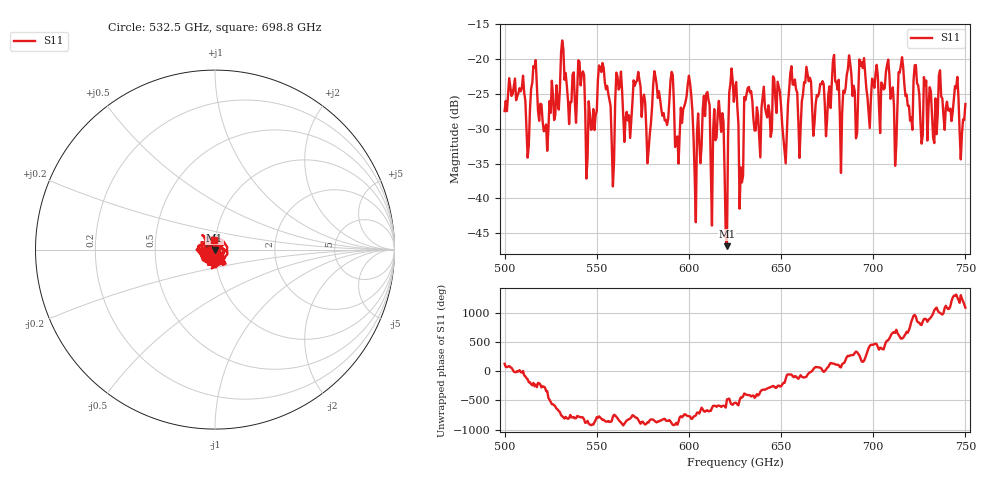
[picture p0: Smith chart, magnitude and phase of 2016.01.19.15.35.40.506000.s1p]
!Created with skrf (http://scikit-rf.org).
# GHz S RI R 50.0
!freq ReS11 ImS11
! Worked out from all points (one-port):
!   401 points, 500 GHz to 750 GHz, reference 50 ohm
!   lowest |S11| = -46.9 dB at 620.6 GHz (marker M1), VSWR 1.01, Z = 49.7 - j0.372 ohm
!   |S11| at or under -10 dB: start of sweep to end of sweep
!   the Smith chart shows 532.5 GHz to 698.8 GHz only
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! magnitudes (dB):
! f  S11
! 500 GHz  -27.4
! 512.5 GHz  -34.1
! 516.2 GHz  -21.2
! 522.5 GHz  -29.4
! 531.2 GHz  -17.3
! 541.9 GHz  -22.2
! 545.6 GHz  -26.0
! 552.5 GHz  -21.8
! 558.1 GHz  -32.1
! 562.5 GHz  -23.9
! 578.1 GHz  -33.0
! 581.2 GHz  -21.7
! 590.6 GHz  -21.8
! 593.8 GHz  -31.1
! 600 GHz  -22.4
! 603.1 GHz  -36.7
! 609.4 GHz  -25.0
! 620.6 GHz  -46.9
! 622.5 GHz  -23.5
! 625 GHz  -24.1
! 628.1 GHz  -35.5
! 631.2 GHz  -25.0
! 651.9 GHz  -33.1
! 656.2 GHz  -23.6
! 683.1 GHz  -27.8
! 687.5 GHz  -20.6
! 718.8 GHz  -26.7
! 750 GHz  -26.4
